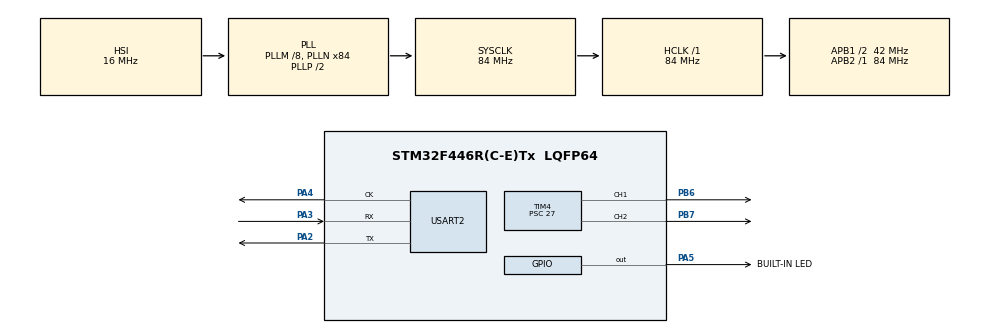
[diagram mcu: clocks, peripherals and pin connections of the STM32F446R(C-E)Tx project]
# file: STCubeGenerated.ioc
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Mcu.Family=STM32F4
Mcu.Name=STM32F446R(C-E)Tx
Mcu.Package=LQFP64
NVIC.PriorityGroup=NVIC_PRIORITYGROUP_4
NVIC.TIM6_DAC_IRQn=true\:0\:0\:false\:false\:true\:true\:true
PA2.Mode=Synchronous
PA2.Signal=USART2_TX
PA3.Mode=Synchronous
PA3.Signal=USART2_RX
PA4.Mode=Synchronous
PA4.Signal=USART2_CK
PA5.GPIO_Label=BUILT-IN LED
PA5.Signal=GPIO_Output
PB6.Signal=S_TIM4_CH1
PB7.Signal=S_TIM4_CH2
ProjectManager.HeapSize=0x200
ProjectManager.StackSize=0x400
ProjectManager.TargetToolchain=MDK-ARM V5
RCC.AHBFreq_Value=84000000
RCC.APB1CLKDivider=RCC_HCLK_DIV2
RCC.APB1Freq_Value=42000000
RCC.APB1TimFreq_Value=84000000
RCC.APB2Freq_Value=84000000
RCC.APB2TimFreq_Value=84000000
RCC.CortexFreq_Value=84000000
RCC.HCLKFreq_Value=84000000
RCC.PLLM=8
RCC.PLLN=84
RCC.SYSCLKFreq_VALUE=84000000
RCC.SYSCLKSource=RCC_SYSCLKSOURCE_PLLCLK
RCC.USBFreq_Value=84000000
RCC.VCOOutputFreq_Value=168000000
SH.S_TIM4_CH1.0=TIM4_CH1,PWM Generation1 CH1
SH.S_TIM4_CH2.0=TIM4_CH2,PWM Generation2 CH2
TIM4.AutoReloadPreload=TIM_AUTORELOAD_PRELOAD_ENABLE
TIM4.Channel-PWM\ Generation1\ CH1=TIM_CHANNEL_1
TIM4.Channel-PWM\ Generation2\ CH2=TIM_CHANNEL_2
TIM4.Period=60000
TIM4.Prescaler=27
TIM4.Pulse-PWM\ Generation1\ CH1=30000
TIM4.Pulse-PWM\ Generation2\ CH2=30000
TIM6.Period=8400-1
TIM6.Prescaler=10000-1
USART2.VirtualMode=VM_SYNC
VP_TIM4_VS_ClockSourceINT.Mode=Internal
VP_TIM6_VS_ClockSourceINT.Mode=Enable_Timer
board=custom

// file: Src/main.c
/* USER CODE BEGIN Header */
/**
  ******************************************************************************
  * @file           : main.c
  * @brief          : Main program body
  ******************************************************************************
  * @attention
  *
  * <h2><center>&copy; Copyright (c) 2021 STMicroelectronics.
  * All rights reserved.</center></h2>
  *
  * This software component is licensed by ST under BSD 3-Clause license,
  * the "License"; You may not use this file except in compliance with the
  * License. You may obtain a copy of the License at:
  *                        opensource.org/licenses/BSD-3-Clause
  *
  ******************************************************************************
  */
/* USER CODE END Header */
#include "main.h"

/* USER CODE BEGIN Includes */
#include <String.h>
#include <stdio.h>
#include <math.h>
#include "../PID_Controller-master/C/pid_controller.h"
#include "../PID_Controller-master/C/pid_controller.c"
/* USER CODE END Includes */

TIM_HandleTypeDef htim4;
TIM_HandleTypeDef htim6;

USART_HandleTypeDef husart2;

/* USER CODE BEGIN PV */
//______________________________________________________________
// Motors
int flat_X =4500;
int flat_Y =5000;

//______________________________________________________________
// Touchscreen variables
float X_touch, Y_touch, X_touch_last, Y_touch_last;
float unfilteredLP;
float unfilteredABG;

int statex=0;
int statey=0;

//______________________________________________________________
// UART
char txdata[100];

//______________________________________________________________
// PID
float SampleTime=0.005;// Will also update the timer IT Arr register

float Kpx = 5;  //Kpx = 3;	//Proportional (P)
float Kix = 4; //Kix = 2	//Integral (I)
float Kdx = 1.9;  //Kdx = 1.1;	//Derivative (D)

float Kpy = 4;  //Kpy = 3;
float Kiy = 3;  //Kiy = 2;
float Kdy = 1.5;  //Kdy = 1.1;

PIDControl PIDx;
PIDControl PIDy;

bool PidFlag=false;
int PIDcount=0;

//______________________________________________________________
// FILTERS
float a=0.5;
float b=0.03;
float g=1;

/* USER CODE END PV */

void SystemClock_Config(void);
static void MX_GPIO_Init(void);
static void MX_TIM4_Init(void);
static void MX_USART2_Init(void);
static void MX_TIM6_Init(void);

/* USER CODE BEGIN PFP */

//______________________________________________________________
// Touchscreen functions prototypes
void Touch_Init(void);
uint16_t median(int n, uint16_t x[]);
uint16_t read_touchX(void);
uint16_t read_touchY(void);
uint8_t read_touch_cal (float *Xpos, float *Ypos);

//______________________________________________________________
// Filtering functions prototypes
float ADCfilterX(float current,float last);
float ADCfilterY(float current,float last);
float LPfilterX(float current);
float LPfilterY(float current);

/* USER CODE END PFP */

int main(void)
{
  /* USER CODE BEGIN 1 */

	int stablecount=0;	//stablecount will increment everytime ball is in center of the plate
	int stable=0;				//stable is either 1 or 0, means either stable or not

  /* USER CODE END 1 */

  /* MCU Configuration--------------------------------------------------------*/

  /* Reset of all peripherals, Initializes the Flash interface and the Systick. */
  HAL_Init();

  /* Configure the system clock */
  SystemClock_Config();

  /* USER CODE BEGIN SysInit */

	// Touchscreen init
  Touch_Init();

	// PID init
	PIDInit(&PIDx,Kpx,Kix,Kdx,SampleTime*8,-1000,+1000,AUTOMATIC,DIRECT);
	PIDInit(&PIDy,Kpy,Kiy,Kdy,SampleTime*8,-1000,+1000,AUTOMATIC,REVERSE);
	PIDSetpointSet(&PIDx,0.0);
	PIDSetpointSet(&PIDy,0.0);

  /* USER CODE END SysInit */

  /* Initialize all configured peripherals */
  MX_GPIO_Init();
  MX_TIM4_Init();
  MX_USART2_Init();
  MX_TIM6_Init();

  /* USER CODE BEGIN 2 */

	// Starting motor's PWMs
	HAL_TIM_PWM_Start(&htim4,TIM_CHANNEL_1);
	HAL_TIM_PWM_Start(&htim4,TIM_CHANNEL_2);

	TIM4->CCR1=flat_X; 	// Make Plate flat in X-Direction
	TIM4->CCR2=flat_Y; 	// Make Plate flat in Y-Direction
	HAL_Delay(500);
	TIM4->CCR1=flat_X-150;
	TIM4->CCR2=flat_Y+150;
	HAL_Delay(500);

	// Start Compute/Position update IT
	HAL_TIM_Base_Start_IT(&htim6);// Starting motor position update timer IT

  /* USER CODE END 2 */

  /* Infinite loop   */
  /* USER CODE BEGIN WHILE */
  while (1)
  {
		if(PidFlag==true){		//PidFlag is updated in HAL_TIM_PeriodElapsedCallback() interruption
			read_touch_cal(&X_touch, &Y_touch);
			PIDcount++;					//Increment PIDcount counter

			X_touch_last=X_touch;
			Y_touch_last=Y_touch;

			// When PID count > 8 = 8x5ms = 40ms && ball is on plate :
			if((PIDcount>8) &&((statex==1) || (statey==1))){

				PIDcount=0;				// Reset PIDcount counter

				//Fill up the buffer we're gonna send to PC, then send it via USART2
				sprintf(txdata,"%f, %f, %f\r\n",X_touch,unfilteredLP,unfilteredABG);
				HAL_USART_Transmit(&husart2,(uint8_t*)txdata,strlen(txdata),HAL_MAX_DELAY);

				if(stable==0){		// If ball is not stabilised
					PidFlag=false;	// Reset PIDFlag
					PIDcount=0;			// Reset PIDcount

					PIDInputSet(&PIDx,X_touch);			// Update PIDx->input
					PIDInputSet(&PIDy,Y_touch);			// Update PIDy->input

					PIDCompute(&PIDx);			// Computes P,I,D values then update PIDx->output
					PIDCompute(&PIDy);			// Computes P,I,D values then update PIDy->output

					TIM4->CCR1=flat_X-150+(int)PIDOutputGet(&PIDx);		//Update X motor position
					TIM4->CCR2=flat_Y+150+(int)PIDOutputGet(&PIDy);		//Update Y motor position
				}
				if(stable==1){					// If ball is stabilised on setpoint
					TIM4->CCR1=flat_X;		// Make Plate flat in X-Direction
					TIM4->CCR2=flat_Y;		// Make Plate flat in Y-Direction
				}

				// if ball is not stabilised:
				if(stable==0){
					// if ball is in the center of the plate
					if((X_touch<20 && X_touch>-20)&&(Y_touch<20 && Y_touch>-20)){
						stablecount++;			// Increment stablecount
						if(stablecount>20){	// If ball has been in the center of the board enough time
							stable=1;					// Stable flag switch to 1 (stable)
						}
					}
				}
				// if ball is stabilised:
				if(stable==1){
					// if ball goes out of the center of the plate
					if((X_touch>15 || X_touch<-15)||(Y_touch>15 || Y_touch<-15)){
						stablecount=0; 			// Stablecount reset
						stable=0;						// Stable flag switch to 0 (unstable)
					}
				}

			}
		}
    /* USER CODE END WHILE */

  }
}

void SystemClock_Config(void)
{
  RCC_OscInitTypeDef RCC_OscInitStruct = {0};
  RCC_ClkInitTypeDef RCC_ClkInitStruct = {0};

  /** Configure the main internal regulator output voltage
  */
  __HAL_RCC_PWR_CLK_ENABLE();
  __HAL_PWR_VOLTAGESCALING_CONFIG(PWR_REGULATOR_VOLTAGE_SCALE3);
  /** Initializes the RCC Oscillators according to the specified parameters
  * in the RCC_OscInitTypeDef structure.
  */
  RCC_OscInitStruct.OscillatorType = RCC_OSCILLATORTYPE_HSI;
  RCC_OscInitStruct.HSIState = RCC_HSI_ON;
  RCC_OscInitStruct.HSICalibrationValue = RCC_HSICALIBRATION_DEFAULT;
  RCC_OscInitStruct.PLL.PLLState = RCC_PLL_ON;
  RCC_OscInitStruct.PLL.PLLSource = RCC_PLLSOURCE_HSI;
  RCC_OscInitStruct.PLL.PLLM = 8;
  RCC_OscInitStruct.PLL.PLLN = 84;
  RCC_OscInitStruct.PLL.PLLP = RCC_PLLP_DIV2;
  RCC_OscInitStruct.PLL.PLLQ = 2;
  RCC_OscInitStruct.PLL.PLLR = 2;
  if (HAL_RCC_OscConfig(&RCC_OscInitStruct) != HAL_OK)
  {
    Error_Handler();
  }
  /** Initializes the CPU, AHB and APB buses clocks
  */
  RCC_ClkInitStruct.ClockType = RCC_CLOCKTYPE_HCLK|RCC_CLOCKTYPE_SYSCLK
                              |RCC_CLOCKTYPE_PCLK1|RCC_CLOCKTYPE_PCLK2;
  RCC_ClkInitStruct.SYSCLKSource = RCC_SYSCLKSOURCE_PLLCLK;
  RCC_ClkInitStruct.AHBCLKDivider = RCC_SYSCLK_DIV1;
  RCC_ClkInitStruct.APB1CLKDivider = RCC_HCLK_DIV2;
  RCC_ClkInitStruct.APB2CLKDivider = RCC_HCLK_DIV1;

  if (HAL_RCC_ClockConfig(&RCC_ClkInitStruct, FLASH_LATENCY_2) != HAL_OK)
  {
    Error_Handler();
  }
}

static void MX_TIM4_Init(void)
{

  TIM_ClockConfigTypeDef sClockSourceConfig = {0};
  TIM_MasterConfigTypeDef sMasterConfig = {0};
  TIM_OC_InitTypeDef sConfigOC = {0};

  htim4.Instance = TIM4;
  htim4.Init.Prescaler = 27;
  htim4.Init.CounterMode = TIM_COUNTERMODE_UP;
  htim4.Init.Period = 60000;
  htim4.Init.ClockDivision = TIM_CLOCKDIVISION_DIV1;
  htim4.Init.AutoReloadPreload = TIM_AUTORELOAD_PRELOAD_ENABLE;
  if (HAL_TIM_Base_Init(&htim4) != HAL_OK)
  {
    Error_Handler();
  }
  sClockSourceConfig.ClockSource = TIM_CLOCKSOURCE_INTERNAL;
  if (HAL_TIM_ConfigClockSource(&htim4, &sClockSourceConfig) != HAL_OK)
  {
    Error_Handler();
  }
  if (HAL_TIM_PWM_Init(&htim4) != HAL_OK)
  {
    Error_Handler();
  }
  sMasterConfig.MasterOutputTrigger = TIM_TRGO_RESET;
  sMasterConfig.MasterSlaveMode = TIM_MASTERSLAVEMODE_DISABLE;
  if (HAL_TIMEx_MasterConfigSynchronization(&htim4, &sMasterConfig) != HAL_OK)
  {
    Error_Handler();
  }
  sConfigOC.OCMode = TIM_OCMODE_PWM1;
  sConfigOC.Pulse = 30000;
  sConfigOC.OCPolarity = TIM_OCPOLARITY_HIGH;
  sConfigOC.OCFastMode = TIM_OCFAST_DISABLE;
  if (HAL_TIM_PWM_ConfigChannel(&htim4, &sConfigOC, TIM_CHANNEL_1) != HAL_OK)
  {
    Error_Handler();
  }
  if (HAL_TIM_PWM_ConfigChannel(&htim4, &sConfigOC, TIM_CHANNEL_2) != HAL_OK)
  {
    Error_Handler();
  }
  HAL_TIM_MspPostInit(&htim4);

}

static void MX_TIM6_Init(void)
{

  TIM_MasterConfigTypeDef sMasterConfig = {0};

  htim6.Instance = TIM6;
  htim6.Init.Prescaler = 10000-1;
  htim6.Init.CounterMode = TIM_COUNTERMODE_UP;
  htim6.Init.Period = (SampleTime*8400)-1;
  htim6.Init.AutoReloadPreload = TIM_AUTORELOAD_PRELOAD_DISABLE;
  if (HAL_TIM_Base_Init(&htim6) != HAL_OK)
  {
    Error_Handler();
  }
  sMasterConfig.MasterOutputTrigger = TIM_TRGO_RESET;
  sMasterConfig.MasterSlaveMode = TIM_MASTERSLAVEMODE_DISABLE;
  if (HAL_TIMEx_MasterConfigSynchronization(&htim6, &sMasterConfig) != HAL_OK)
  {
    Error_Handler();
  }

}

static void MX_USART2_Init(void)
{

  husart2.Instance = USART2;
  husart2.Init.BaudRate = 115200;
  husart2.Init.WordLength = USART_WORDLENGTH_8B;
  husart2.Init.StopBits = USART_STOPBITS_1;
  husart2.Init.Parity = USART_PARITY_NONE;
  husart2.Init.Mode = USART_MODE_TX_RX;
  husart2.Init.CLKPolarity = USART_POLARITY_LOW;
  husart2.Init.CLKPhase = USART_PHASE_1EDGE;
  husart2.Init.CLKLastBit = USART_LASTBIT_DISABLE;
  if (HAL_USART_Init(&husart2) != HAL_OK)
  {
    Error_Handler();
  }

}

static void MX_GPIO_Init(void)
{
  GPIO_InitTypeDef GPIO_InitStruct = {0};

  /* GPIO Ports Clock Enable */
  __HAL_RCC_GPIOA_CLK_ENABLE();
  __HAL_RCC_GPIOB_CLK_ENABLE();

  /*Configure GPIO pin Output Level */
  HAL_GPIO_WritePin(BUILT_IN_LED_GPIO_Port, BUILT_IN_LED_Pin, GPIO_PIN_RESET);

  /*Configure GPIO pin : BUILT_IN_LED_Pin */
  GPIO_InitStruct.Pin = BUILT_IN_LED_Pin;
  GPIO_InitStruct.Mode = GPIO_MODE_OUTPUT_PP;
  GPIO_InitStruct.Pull = GPIO_NOPULL;
  GPIO_InitStruct.Speed = GPIO_SPEED_FREQ_LOW;
  HAL_GPIO_Init(BUILT_IN_LED_GPIO_Port, &GPIO_InitStruct);

}

/* USER CODE BEGIN 4 */

//______________________________________________________________
// Timers full IT Callback :
void HAL_TIM_PeriodElapsedCallback(TIM_HandleTypeDef *htim){

	if (htim == &htim6){//check if timer full is timer6
			PidFlag=true;
	}
}

//______________________________________________________________
// Definitions of TOUCHSCREEN FUNCTIONS :
//#### init ####
void Touch_Init(void){
	  //enable GPIOA clock
	  RCC->AHB1ENR |= RCC_AHB1ENR_GPIOAEN;
	  //enable ADC1 clock
	  RCC->APB2ENR |= RCC_APB2ENR_ADC1EN;

	  //set X- and y- pull down to make ADC read 0 when not pressed
		//  GPIOA->PUPDR = (GPIOA->PUPDR & ~(GPIO_PUPDR_PUPD2 | GPIO_PUPDR_PUPD3)) | GPIO_PUPDR_PUPD2_1 | GPIO_PUPDR_PUPD3_1;
		GPIOA->PUPDR = (GPIOA->PUPDR & ~(GPIO_PUPDR_PUPD6 | GPIO_PUPDR_PUPD7)) | GPIO_PUPDR_PUPD6_1 | GPIO_PUPDR_PUPD7_1;
	  //set ODR for X- and Y- pins to low so when set up output the will be low
		//  GPIOA->ODR &= ~(GPIO_ODR_OD2 | GPIO_ODR_OD3);
		GPIOA->ODR &= ~(GPIO_ODR_OD6 | GPIO_ODR_OD7);
	  //set ODR for X+ and Y+ pins to high so whenever set as output they will be high
	  GPIOA->ODR |= GPIO_ODR_OD0 | GPIO_ODR_OD1;
	  //set both pins as push pull
	  GPIOA->OTYPER &= ~(GPIO_OTYPER_OT0 | GPIO_OTYPER_OT1);

	  //turn ADC1 on and set EOCS to regular conversion
	  ADC1->CR2 |= ADC_CR2_ADON |  ADC_CR2_EOCS;
	  //set shortest sample time
	  ADC1->SMPR1 |= 0x11;
	  //set resution to 10 bit
	  ADC1->CR1 = (ADC1->CR1 & ~(ADC_CR1_RES)) | ADC_CR1_RES_0;
}

//#### calculate the median value of 5 ADC readings ####
uint16_t median(int n, uint16_t x[]) {
    int temp;
    int i, j;
    // the following two loops sort the array x in ascending order
    for(i=0; i<n-1; i++) {
        for(j=i+1; j<n; j++) {
            if(x[j] < x[i]) {
                // swap elements
                temp = x[i];
                x[i] = x[j];
                x[j] = temp;
            }
        }
    }
    return x[n/2];
}

//#### Read X voltage divider ####
uint16_t read_touchX(void){

	//reset all modes of lowest 2 pins
	GPIOA->MODER &= ~0xF;
	GPIOA->MODER &= ~0xF000;
	//set Y+ and Y- to output, set X+ to analog and X- to imput
	GPIOA->MODER |= GPIO_MODER_MODE1_0 | GPIO_MODER_MODE7_0 | GPIO_MODER_MODE0;

	//set to ADC to channel 0
	ADC1->SQR3 = 0;

	//we need short delay and this is currently way longer than needed.
	HAL_Delay(4);

	//we will get 5 conversions then use the median 1
	uint16_t adcs[5];
	for(uint16_t number = 0; number < 5; number++){
		//start ADC convertion
		ADC1->CR2 |= ADC_CR2_SWSTART;
		//wait for convertion to finish
		while ((ADC1->SR & ADC_SR_EOC) == 0){
		}
		adcs[number] = ADC1->DR;
	}

	uint16_t med = median(5, adcs);

	return med;
}
//#### Read Y voltage divider ####
uint16_t read_touchY(void){

	//reset all modes of every pins
	GPIOA->MODER &= ~0xF00F;
	//set X+ and X- to output, set Y+ to analog and Y- to input
	GPIOA->MODER |= GPIO_MODER_MODE0_0 | GPIO_MODER_MODE6_0 | GPIO_MODER_MODE1;

	//set to ADC to channel 1
	ADC1->SQR3 = 1;

	//we need short delay and this is currently way longer than needed.
	HAL_Delay(4);

	//we will get 5 conversions then use the median 1
	uint16_t adcs[5];
	for(uint8_t number = 0; number < 5; number++){
		//start ADC convertion
		ADC1->CR2 |= ADC_CR2_SWSTART;
		//wait for convertion to finish
		while ((ADC1->SR & ADC_SR_EOC) == 0){
		}
		adcs[number] = ADC1->DR;
	}

	uint16_t med = median(5, adcs);

	return med;
}
//#### Formatting read values ####
uint8_t read_touch_cal (float *Xpos, float *Ypos){

	static float xmin = 90.0;
	static float xmax = 939.0;
	float xm = (xmax - xmin) / 2.0; // x - Center
	static float xLength = 182.0; //Width of Touchscreen in mm

	static float ymin = 102.0;
	static float ymax = 904.0;
	float ym = (ymax - ymin) / 2.0; // y - Center
	static float yLength = 140.0; //Length of Touchscreen in mm

	float convertX = xLength / (xmax - xmin);   // converts raw x values to mm. found through manual calibration
	float convertY = yLength / (ymax - ymin);   // converts raw y values to mm. found through manual calibration

	static float mesX;
	static float mesY;
	static float lastmesX;
	static float lastmesY;

	// Get ADC readings
	mesX=read_touchX();
	mesY=read_touchY();

	//unfilteredABG = mesX;
	//unfilteredABG = (unfilteredABG - xmin - xm) * convertX;

	// Alpha-Beta-Gamma filtering
	mesX = ADCfilterX(mesX,lastmesX);
	mesY = ADCfilterY(mesY,lastmesY);

	//unfilteredLP = mesX;
	//unfilteredLP = (unfilteredLP - xmin - xm) * convertX;

	// Low Pass filtering
	mesX = LPfilterX(mesX);
	mesY = LPfilterY(mesY);

	// Convert to values between [-100;100]
	*Xpos= (mesX - xmin - xm) * convertX;
	*Ypos= (mesY - ymin - ym) * convertY;

	// Keep values for later
	lastmesX=mesX;
	lastmesY=mesY;

	return 1;
}

//______________________________________________________________
// Definitions of FILTERING FUNCTIONS :
//#### ABG filtering ####
float ADCfilterX(float current,float last){

	static bool LPfilter=false;
	static int i=0;
	static int j=0;

	float filtered;				//Not so useful (return value)
	float dt=SampleTime;	//Not so useful

	// Initial speed and acceleration set to 0
	static float abgfiltvx=0;
	static float abgfiltax=0;
	static float abgfiltvxlast=0;
	static float abgfiltaxlast=0;

	// Position variables
	static float abgfiltx=0;
	static float abgfiltxlast=0;

	// Rejected measure threshold value
	static float rk=0;

	// If ball is on plate
	if(statex==1){
			j++;									// Increment ballonplate counter
			filtered = current;		// No filtering now
			if(current<(80)){			// Measure<80 means ball no longer on plate
				i++;								// Increment ballNOTonplate counter
				if(i>10){
					statex=0;
					//re-init
					abgfiltvx=0;
					abgfiltax=0;
					abgfiltvxlast=0;
					abgfiltaxlast=0;
					abgfiltx=0;
					abgfiltxlast=0;
					rk=0;
				}
			}
			else{
				i=0;
			}
	}
	// If ball is not on plate
	if(statex==0){
		i=0;
		j=0;
		filtered = current;
		if (current >(80)){		// Measure>80 means ball on plate
			statex=1;
		}
	}

	if(j>10 && statex==1){	// If ball is on plate since enough time
		LPfilter=true;

		// Alpha-Beta-Gamma filtering equations
		abgfiltx = abgfiltxlast+dt*abgfiltvxlast+(pow(dt,2)/2)*abgfiltaxlast;
    abgfiltvx = abgfiltvxlast+dt*abgfiltaxlast;
    abgfiltax = abgfiltvxlast;

		rk=current-abgfiltx;	// Difference between measure and prediction

		if(rk<-170){						// If difference is too big
      abgfiltx=abgfiltx;		// Take prediction instead of measure
      abgfiltvx=abgfiltvx;
      abgfiltax=abgfiltax;
		}
		else {		// Else, filter anyways
			abgfiltx=abgfiltx+a*rk;
      abgfiltvx=abgfiltvx+(b/dt)*rk;
      abgfiltax=abgfiltax+(g/dt)*rk;
		}
		abgfiltxlast = abgfiltx;
		abgfiltvxlast = abgfiltvx;
		abgfiltaxlast = abgfiltax;
	}
	else{	//No filtering
		LPfilter=false;

		abgfiltx=current;
		abgfiltxlast=last;

		filtered=current;

		last=current;
	}

	return abgfiltx;
}
float ADCfilterY(float current,float last){
	//Same principle as ADCfilterX(), refer to it for more comments

	static bool LPfilter=false;
	static int i=0;
	static int j=0;

	float filtered;

	float dt=SampleTime;

	//init speed and acceleration to 0
	static float abgfiltvy=0;
	static float abgfiltay=0;
	static float abgfiltvylast=0;
	static float abgfiltaylast=0;
	//position variables
	static float abgfilty=0;
	static float abgfiltylast=0;
	static float rk=0;

	if(statey==1){//ball on plate
			j++;
			filtered = current;
			if(current<(80)){
				i++;
				if(i>10){
					statey=0;
				}
			}
			else{
				i=0;
			}
	}
	if(statey==0){//no ball on plate
		i=0;
		j=0;
		filtered = current;
		if (current >(80)){//if position different than zero
			statey=1;
		}
	}
	if(j>10 && statey==1){
		LPfilter=true;

		//ALPHA-BETA-GAMMA FILTER
		abgfilty = abgfiltylast+dt*abgfiltvylast+(pow(dt,2)/2)*abgfiltaylast;
    abgfiltvy = abgfiltvylast+dt*abgfiltaylast;
    abgfiltay = abgfiltvylast;

		rk=current-abgfilty;

		if(rk<-170){
			//sprintf(txdata,"PROBLEMx\r\n"); // Fill up the buffer we're gonna send to PC
			//HAL_USART_Transmit(&husart2,(uint8_t*)txdata,strlen(txdata),HAL_MAX_DELAY); // Send buffer via USART

      abgfilty=abgfilty;
      abgfiltvy=abgfiltvy;
      abgfiltay=abgfiltay;
		}
		else{
			abgfilty=abgfilty+a*rk;
      abgfiltvy=abgfiltvy+(b/dt)*rk;
      abgfiltay=abgfiltay+(g/dt)*rk;
		}
		abgfiltylast = abgfilty;
		abgfiltvylast = abgfiltvy;
		abgfiltaylast = abgfiltay;
	}
	else{
		LPfilter=false;

		abgfilty=current;
		abgfiltylast=last;

		last=current;
	}

	return abgfilty;
}
//#### Low-Pass Single-Pole IIR Filtering####
float LPfilterX(float current){

	static float LPfiltered;
	static float a=0.08;

	LPfiltered=a*current+(1-a)*LPfiltered;

	return LPfiltered;
}

float LPfilterY(float current){
	static float LPfiltered;
	static float a=0.1;

	LPfiltered=a*current+(1-a)*LPfiltered;

	return LPfiltered;
}
/* USER CODE END 4 */

void Error_Handler(void)
{
  __disable_irq();
  while (1)
  {
  }
}

/************************ (C) COPYRIGHT STMicroelectronics *****END OF FILE****/
